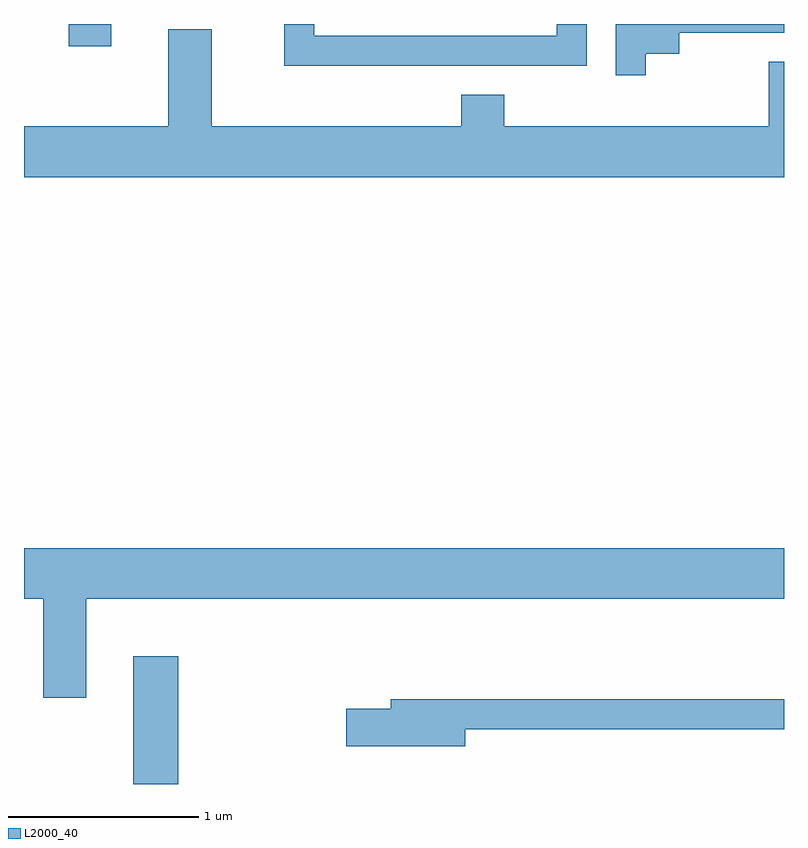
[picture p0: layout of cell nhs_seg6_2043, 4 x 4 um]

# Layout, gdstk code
import gdstk
lib = gdstk.Library(unit=1e-6, precision=1e-09)
def R(c, l, rs):  # rectangles x0, y0, x1, y1
    for r in rs: c.add(gdstk.rectangle(r[:2], r[2:], *l))
def P(c, l, *ps):  # polygons
    for p in ps: c.add(gdstk.Polygon(p, *l))
L2000_40 = (2000, 40)

nhs_seg6_2043 = lib.new_cell('nhs_seg6_2043')
R(nhs_seg6_2043, L2000_40, [(248.186,1560.162,248.424,1560.834), (247.846,1564.046,248.069,1564.162)])
P(nhs_seg6_2043, L2000_40, [(250.884,1564.006),(251.059,1564.006),(251.059,1564.116),(251.611,1564.116),(251.611,1564.162),(250.726,1564.162),(250.726,1563.893),(250.884,1563.893)],
  [(250.574,1564.162),(250.416,1564.162),(250.416,1564.099),(249.139,1564.099),(249.139,1564.162),(248.981,1564.162),(248.981,1563.941),(250.574,1563.941)],
  [(251.611,1563.964),(251.531,1563.964),(251.531,1563.624),(250.139,1563.624),(250.139,1563.789),(249.911,1563.789),(249.911,1563.624),(248.599,1563.624),(248.599,1564.134),(248.371,1564.134),(248.371,1563.624),(247.611,1563.624),(247.611,1563.356),(251.611,1563.356)],
  [(247.939,1561.136),(251.611,1561.136),(251.611,1561.404),(247.611,1561.404),(247.611,1561.136),(247.711,1561.136),(247.711,1560.616),(247.939,1560.616)],
  [(249.934,1560.451),(251.611,1560.451),(251.611,1560.609),(249.541,1560.609),(249.541,1560.559),(249.306,1560.559),(249.306,1560.361),(249.934,1560.361)])

lib.write_gds('nhs_seg6_2043.gds')
